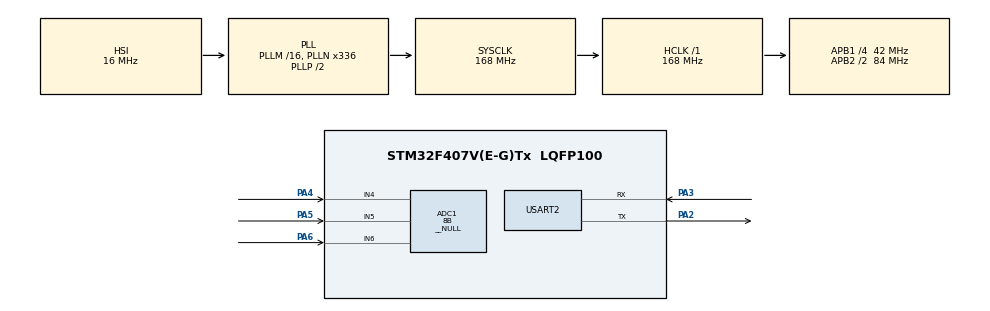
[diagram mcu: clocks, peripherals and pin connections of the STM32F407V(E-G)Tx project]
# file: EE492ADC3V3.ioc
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ADC1.Channel-0\#ChannelRegularConversion=ADC_CHANNEL_4
ADC1.Channel-1\#ChannelRegularConversion=ADC_CHANNEL_5
ADC1.Channel-2\#ChannelRegularConversion=ADC_CHANNEL_6
ADC1.ContinuousConvMode=ENABLE
ADC1.DMAContinuousRequests=ENABLE
ADC1.Mode=__NULL
ADC1.NbrOfConversion=3
ADC1.NbrOfConversionFlag=1
ADC1.Rank-0\#ChannelRegularConversion=1
ADC1.Rank-1\#ChannelRegularConversion=2
ADC1.Rank-2\#ChannelRegularConversion=3
ADC1.Resolution=ADC_RESOLUTION_8B
ADC1.SamplingTime-0\#ChannelRegularConversion=ADC_SAMPLETIME_3CYCLES
ADC1.SamplingTime-1\#ChannelRegularConversion=ADC_SAMPLETIME_3CYCLES
ADC1.SamplingTime-2\#ChannelRegularConversion=ADC_SAMPLETIME_3CYCLES
ADC1.master=1
Dma.ADC1.0.Direction=DMA_PERIPH_TO_MEMORY
Dma.ADC1.0.FIFOMode=DMA_FIFOMODE_DISABLE
Dma.ADC1.0.Instance=DMA2_Stream0
Dma.ADC1.0.MemDataAlignment=DMA_MDATAALIGN_HALFWORD
Dma.ADC1.0.MemInc=DMA_MINC_ENABLE
Dma.ADC1.0.Mode=DMA_CIRCULAR
Dma.ADC1.0.PeriphDataAlignment=DMA_PDATAALIGN_HALFWORD
Dma.ADC1.0.PeriphInc=DMA_PINC_DISABLE
Dma.ADC1.0.Priority=DMA_PRIORITY_LOW
Dma.Request0=ADC1
Dma.Request1=USART2_TX
Dma.USART2_TX.1.Direction=DMA_MEMORY_TO_PERIPH
Dma.USART2_TX.1.FIFOMode=DMA_FIFOMODE_DISABLE
Dma.USART2_TX.1.Instance=DMA1_Stream6
Dma.USART2_TX.1.MemDataAlignment=DMA_MDATAALIGN_BYTE
Dma.USART2_TX.1.MemInc=DMA_MINC_ENABLE
Dma.USART2_TX.1.Mode=DMA_CIRCULAR
Dma.USART2_TX.1.PeriphDataAlignment=DMA_PDATAALIGN_BYTE
Dma.USART2_TX.1.PeriphInc=DMA_PINC_DISABLE
Dma.USART2_TX.1.Priority=DMA_PRIORITY_LOW
Mcu.Family=STM32F4
Mcu.Name=STM32F407V(E-G)Tx
Mcu.Package=LQFP100
NVIC.ADC_IRQn=true\:0\:0\:false\:false\:true\:true\:true
NVIC.DMA1_Stream6_IRQn=true\:0\:0\:false\:false\:true\:false\:true
NVIC.DMA2_Stream0_IRQn=true\:0\:0\:false\:false\:true\:false\:true
NVIC.PriorityGroup=NVIC_PRIORITYGROUP_0
NVIC.USART2_IRQn=true\:0\:0\:false\:false\:true\:true\:true
PA2.Mode=Asynchronous
PA2.Signal=USART2_TX
PA3.Mode=Asynchronous
PA3.Signal=USART2_RX
PA4.Signal=ADCx_IN4
PA5.Signal=ADCx_IN5
PA6.Signal=ADCx_IN6
PH0-OSC_IN.Mode=HSE-External-Oscillator
PH0-OSC_IN.Signal=RCC_OSC_IN
PH1-OSC_OUT.Mode=HSE-External-Oscillator
PH1-OSC_OUT.Signal=RCC_OSC_OUT
ProjectManager.HeapSize=0x200
ProjectManager.StackSize=0x400
ProjectManager.TargetToolchain=MDK-ARM V5
RCC.48MHZClocksFreq_Value=48000000
RCC.AHBFreq_Value=168000000
RCC.APB1CLKDivider=RCC_HCLK_DIV4
RCC.APB1Freq_Value=42000000
RCC.APB1TimFreq_Value=84000000
RCC.APB2CLKDivider=RCC_HCLK_DIV2
RCC.APB2Freq_Value=84000000
RCC.APB2TimFreq_Value=168000000
RCC.CortexFreq_Value=168000000
RCC.HCLKFreq_Value=168000000
RCC.HSE_VALUE=8000000
RCC.HSI_VALUE=16000000
RCC.LSE_VALUE=32768
RCC.PLLN=336
RCC.PLLQ=7
RCC.SYSCLKFreq_VALUE=168000000
RCC.SYSCLKSource=RCC_SYSCLKSOURCE_PLLCLK
RCC.VCOOutputFreq_Value=336000000
SH.ADCx_IN4.0=ADC1_IN4,IN4
SH.ADCx_IN5.0=ADC1_IN5,IN5
SH.ADCx_IN6.0=ADC1_IN6,IN6
USART2.VirtualMode=VM_ASYNC
board=STM32F407G-DISC1

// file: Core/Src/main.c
/* USER CODE BEGIN Header */
/**
  ******************************************************************************
  * @file           : main.c
  * @brief          : Main program body
  ******************************************************************************
  * @attention
  *
  * <h2><center>&copy; Copyright (c) 2021 STMicroelectronics.
  * All rights reserved.</center></h2>
  *
  * This software component is licensed by ST under BSD 3-Clause license,
  * the "License"; You may not use this file except in compliance with the
  * License. You may obtain a copy of the License at:
  *                        opensource.org/licenses/BSD-3-Clause
  *
  ******************************************************************************
  */
/* USER CODE END Header */
#include "main.h"

/* USER CODE BEGIN Includes */
#include <string.h>
#include <stdio.h>
#include <stdlib.h>
/* USER CODE END Includes */

/* USER CODE BEGIN PD */

#define ADC_BUF_LEN 4096*3
#define ADC_DATA_LEN ADC_BUF_LEN/3
#define ADC_THOLD 175
#define CHARBUFF_LEN 20

/* USER CODE END PD */

ADC_HandleTypeDef hadc1;
DMA_HandleTypeDef hdma_adc1;

UART_HandleTypeDef huart2;
DMA_HandleTypeDef hdma_usart2_tx;

/* USER CODE BEGIN PV */

uint16_t adc_buf[ADC_BUF_LEN];

uint16_t adc_data[ADC_DATA_LEN];
uint16_t adc_data2[ADC_DATA_LEN];
uint16_t adc_data3[ADC_DATA_LEN];

int convCount;

// CC variables

float table12[ADC_DATA_LEN*2];
float max12;
int maxindex12;

float table13[ADC_DATA_LEN*2];
float max13;
int maxindex13;

double absoluteDirection;

/* USER CODE END PV */

void SystemClock_Config(void);
static void MX_GPIO_Init(void);
static void MX_DMA_Init(void);
static void MX_ADC1_Init(void);
static void MX_USART2_UART_Init(void);

/* USER CODE BEGIN PFP */

void crossCorrelation12(uint16_t* data1, uint16_t* data2);
void crossCorrelation13(uint16_t* data1, uint16_t* data3);
double directionAngle(int cc1to2, int cc1to3);
/* USER CODE END PFP */

int main(void)
{
  /* USER CODE BEGIN 1 */
	convCount = 0 ;
  /* USER CODE END 1 */

  /* MCU Configuration--------------------------------------------------------*/

  /* Reset of all peripherals, Initializes the Flash interface and the Systick. */
  HAL_Init();

  /* Configure the system clock */
  SystemClock_Config();

  /* Initialize all configured peripherals */
  MX_GPIO_Init();
  MX_DMA_Init();
  MX_ADC1_Init();
  MX_USART2_UART_Init();
  /* USER CODE BEGIN 2 */
//HAL_Delay(1500);
	HAL_ADC_Start_DMA(&hadc1, (uint32_t*)adc_buf, ADC_BUF_LEN);

  /* USER CODE END 2 */

  /* Infinite loop */
  while (1)
  {

  }
}

void SystemClock_Config(void)
{
  RCC_OscInitTypeDef RCC_OscInitStruct = {0};
  RCC_ClkInitTypeDef RCC_ClkInitStruct = {0};

  /** Configure the main internal regulator output voltage
  */
  __HAL_RCC_PWR_CLK_ENABLE();
  __HAL_PWR_VOLTAGESCALING_CONFIG(PWR_REGULATOR_VOLTAGE_SCALE1);
  /** Initializes the RCC Oscillators according to the specified parameters
  * in the RCC_OscInitTypeDef structure.
  */
  RCC_OscInitStruct.OscillatorType = RCC_OSCILLATORTYPE_HSI;
  RCC_OscInitStruct.HSIState = RCC_HSI_ON;
  RCC_OscInitStruct.HSICalibrationValue = RCC_HSICALIBRATION_DEFAULT;
  RCC_OscInitStruct.PLL.PLLState = RCC_PLL_ON;
  RCC_OscInitStruct.PLL.PLLSource = RCC_PLLSOURCE_HSI;
  RCC_OscInitStruct.PLL.PLLM = 16;
  RCC_OscInitStruct.PLL.PLLN = 336;
  RCC_OscInitStruct.PLL.PLLP = RCC_PLLP_DIV2;
  RCC_OscInitStruct.PLL.PLLQ = 7;
  if (HAL_RCC_OscConfig(&RCC_OscInitStruct) != HAL_OK)
  {
    Error_Handler();
  }
  /** Initializes the CPU, AHB and APB buses clocks
  */
  RCC_ClkInitStruct.ClockType = RCC_CLOCKTYPE_HCLK|RCC_CLOCKTYPE_SYSCLK
                              |RCC_CLOCKTYPE_PCLK1|RCC_CLOCKTYPE_PCLK2;
  RCC_ClkInitStruct.SYSCLKSource = RCC_SYSCLKSOURCE_PLLCLK;
  RCC_ClkInitStruct.AHBCLKDivider = RCC_SYSCLK_DIV1;
  RCC_ClkInitStruct.APB1CLKDivider = RCC_HCLK_DIV4;
  RCC_ClkInitStruct.APB2CLKDivider = RCC_HCLK_DIV2;

  if (HAL_RCC_ClockConfig(&RCC_ClkInitStruct, FLASH_LATENCY_5) != HAL_OK)
  {
    Error_Handler();
  }
}

static void MX_ADC1_Init(void)
{

  ADC_ChannelConfTypeDef sConfig = {0};

  /** Configure the global features of the ADC (Clock, Resolution, Data Alignment and number of conversion)
  */
  hadc1.Instance = ADC1;
  hadc1.Init.ClockPrescaler = ADC_CLOCK_SYNC_PCLK_DIV4;
  hadc1.Init.Resolution = ADC_RESOLUTION_8B;
  hadc1.Init.ScanConvMode = ENABLE;
  hadc1.Init.ContinuousConvMode = ENABLE;
  hadc1.Init.DiscontinuousConvMode = DISABLE;
  hadc1.Init.ExternalTrigConvEdge = ADC_EXTERNALTRIGCONVEDGE_NONE;
  hadc1.Init.ExternalTrigConv = ADC_SOFTWARE_START;
  hadc1.Init.DataAlign = ADC_DATAALIGN_RIGHT;
  hadc1.Init.NbrOfConversion = 3;
  hadc1.Init.DMAContinuousRequests = ENABLE;
  hadc1.Init.EOCSelection = ADC_EOC_SINGLE_CONV;
  if (HAL_ADC_Init(&hadc1) != HAL_OK)
  {
    Error_Handler();
  }
  /** Configure for the selected ADC regular channel its corresponding rank in the sequencer and its sample time.
  */
  sConfig.Channel = ADC_CHANNEL_4;
  sConfig.Rank = 1;
  sConfig.SamplingTime = ADC_SAMPLETIME_3CYCLES;
  if (HAL_ADC_ConfigChannel(&hadc1, &sConfig) != HAL_OK)
  {
    Error_Handler();
  }
  /** Configure for the selected ADC regular channel its corresponding rank in the sequencer and its sample time.
  */
  sConfig.Channel = ADC_CHANNEL_5;
  sConfig.Rank = 2;
  if (HAL_ADC_ConfigChannel(&hadc1, &sConfig) != HAL_OK)
  {
    Error_Handler();
  }
  /** Configure for the selected ADC regular channel its corresponding rank in the sequencer and its sample time.
  */
  sConfig.Channel = ADC_CHANNEL_6;
  sConfig.Rank = 3;
  if (HAL_ADC_ConfigChannel(&hadc1, &sConfig) != HAL_OK)
  {
    Error_Handler();
  }

}

static void MX_USART2_UART_Init(void)
{

  huart2.Instance = USART2;
  huart2.Init.BaudRate = 115200;
  huart2.Init.WordLength = UART_WORDLENGTH_8B;
  huart2.Init.StopBits = UART_STOPBITS_1;
  huart2.Init.Parity = UART_PARITY_NONE;
  huart2.Init.Mode = UART_MODE_TX_RX;
  huart2.Init.HwFlowCtl = UART_HWCONTROL_NONE;
  huart2.Init.OverSampling = UART_OVERSAMPLING_16;
  if (HAL_UART_Init(&huart2) != HAL_OK)
  {
    Error_Handler();
  }

}

static void MX_DMA_Init(void)
{

  /* DMA controller clock enable */
  __HAL_RCC_DMA2_CLK_ENABLE();
  __HAL_RCC_DMA1_CLK_ENABLE();

  /* DMA interrupt init */
  /* DMA1_Stream6_IRQn interrupt configuration */
  HAL_NVIC_SetPriority(DMA1_Stream6_IRQn, 0, 0);
  HAL_NVIC_EnableIRQ(DMA1_Stream6_IRQn);
  /* DMA2_Stream0_IRQn interrupt configuration */
  HAL_NVIC_SetPriority(DMA2_Stream0_IRQn, 0, 0);
  HAL_NVIC_EnableIRQ(DMA2_Stream0_IRQn);

}

static void MX_GPIO_Init(void)
{

  /* GPIO Ports Clock Enable */
  __HAL_RCC_GPIOH_CLK_ENABLE();
  __HAL_RCC_GPIOA_CLK_ENABLE();

}

/* USER CODE BEGIN 4 */

void HAL_ADC_ConvCpltCallback(ADC_HandleTypeDef* hadc) {

	char txt[CHARBUFF_LEN];

	int sendBuf = 0;

	convCount++ ;

	if(hadc == &hadc1)								//check which adc made interrupt
	{
		for(int i = 0 ; i<ADC_BUF_LEN ; ){

			adc_data[i/3] = adc_buf[i];
			i = i + 3 ;

		}
		for(int i = 1 ; i<ADC_BUF_LEN ; ){

			adc_data2[i/3] = adc_buf[i];
			i = i + 3 ;
		}

		for(int i = 2 ; i<ADC_BUF_LEN ; ){

			adc_data3[i/3] = adc_buf[i];
			i = i + 3 ;

		}

	}
	for(int i = 0 ; i<ADC_BUF_LEN/3 ; i++ ){ // added

			if(adc_data[i] > ADC_THOLD || adc_data2[i] > ADC_THOLD || adc_data3[i] > ADC_THOLD ){
				sendBuf=1;
				break;
			}
	}

	if(sendBuf == 1 ){

		crossCorrelation12(adc_data+510,adc_data2+510);
		crossCorrelation13(adc_data+510,adc_data3+510);
		absoluteDirection = directionAngle(maxindex12, maxindex13);
//		for(int i = 0 ; i<4096*3 ;i++ ){
//
//			sprintf(txt, "%d %d %d\n", adc_data[i]*2, adc_data2[i]*2,adc_data3[i]*2);
//			HAL_UART_Transmit(&huart2, (uint8_t *)txt, strlen(txt),50);
//
//		}

	}

}

void crossCorrelation12(uint16_t* data1,uint16_t* data2){

	max12 = 1;
	maxindex12 = -1;

	float average112 = 0;
	float average212 = 0;

	for (int j = 0; j < ADC_DATA_LEN-510; j++) {
			average112 += data1[j];
	}
	for (int j = 0; j < ADC_DATA_LEN-510; j++) {
			average212 += data2[j];
	}

	average112 /= 1.0*ADC_DATA_LEN-510;
	average212 /= 1.0*ADC_DATA_LEN-510;
	int c12=0;

	for (int j = -ADC_DATA_LEN-510; j < ADC_DATA_LEN-510;j++) {
			for (int i = 0; i < ADC_DATA_LEN-510; i++) {
				if ((i+j < ADC_DATA_LEN-510) && (i+j >= 0)) {
					table12[c12] += ((data1[i]-average112) * (data2[i+j]-average212));
				}
			}
			if (table12[c12] > max12) {
				max12 = table12[c12];
				maxindex12 = c12-ADC_DATA_LEN-510;
			}
			c12++;
		}

}

void crossCorrelation13(uint16_t* data1, uint16_t* data3){

	max13 = 1;
	maxindex13 = -1;

	float average113 = 0;
	float average213 = 0;

	for (int j = 0; j < ADC_DATA_LEN-510; j++) {
			average113 += data1[j];
	}
	for (int j = 0; j < ADC_DATA_LEN-510; j++) {
			average213 += data3[j];
	}

	average113 /= 1.0*ADC_DATA_LEN-510;
	average213 /= 1.0*ADC_DATA_LEN-510;
	int c13=0;

	for (int j = -ADC_DATA_LEN-510; j < ADC_DATA_LEN-510;j++) {
			for (int i = 0; i < ADC_DATA_LEN-510; i++) {
				if ((i+j < ADC_DATA_LEN-510) && (i+j >= 0)) {
					table13[c13] += ((data1[i]-average113) * (data3[i+j]-average213));
				}
			}
			if (table13[c13] > max13) {
				max13 = table13[c13];
				maxindex13 = c13-ADC_DATA_LEN-510;
			}
			c13++;
		}

}

double directionAngle(int cc1to2, int cc1to3){

		double micp1 = 1;
		double micp2 = cc1to2;
		double micp3 = cc1to3;

		double degreeCalculated = 0;

		if(micp1 < micp2 && micp1 < micp3){ // mic1 first arrival

			degreeCalculated = 180;

			if(micp2 < micp3){ //mic2 second arrival

				degreeCalculated -= 60 * ( (micp3-micp2) / micp3 ) ;

			}
			else if(micp3 < micp2){ // mic3 second arrival

				degreeCalculated += 60 * ( (micp2-micp3) / micp2 ) ;

			}
		}
		else if(micp2 < micp1 && micp2 < micp3){ // mic2 first arrival

			micp1 = micp1 - micp2;
			micp3 = micp3 - micp2;
			degreeCalculated = 60;

			if(micp3 < micp1){ //mic3 second arrival

				degreeCalculated -= 60 * ( (micp1-micp3) / micp1 ) ;

			}
			else if(micp1 < micp3){ // mic1 second arrival

				degreeCalculated += 60 * ( (micp3-micp1) / micp3 ) ;

			}

		}

		else if(micp3 < micp1 && micp3 < micp2){

			micp1 = micp1 - micp3;
			micp2 = micp2 - micp3;
			degreeCalculated = 300;

			if(micp1 < micp2){ //mic3 second arrival

				degreeCalculated -= 60 * ( (micp2-micp1) / micp2 ) ;

			}
			else if(micp2 < micp1){ // mic1 second arrival

				degreeCalculated += 60 * ( (micp1-micp2) / micp1 ) ;

			}

		}
		// Corner case ifleri yaz

		return degreeCalculated;
	}

/* USER CODE END 4 */

void Error_Handler(void)
{
  __disable_irq();
  while (1)
  {
  }
}

/************************ (C) COPYRIGHT STMicroelectronics *****END OF FILE****/
